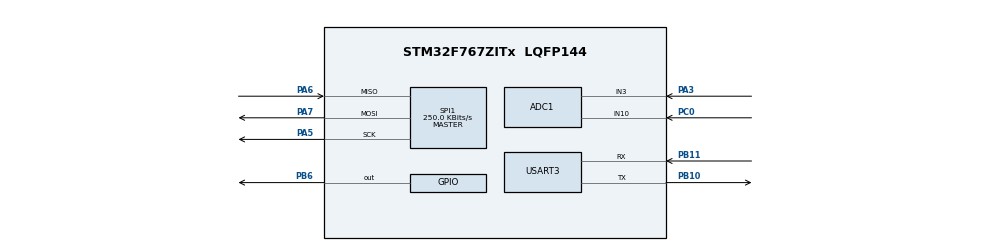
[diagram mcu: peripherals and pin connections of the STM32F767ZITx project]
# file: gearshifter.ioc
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ADC1.Channel-0\#ChannelRegularConversion=ADC_CHANNEL_3
ADC1.NbrOfConversionFlag=1
ADC1.Rank-0\#ChannelRegularConversion=1
ADC1.SamplingTime-0\#ChannelRegularConversion=ADC_SAMPLETIME_3CYCLES
ADC1.master=1
CORTEX_M7.default_mode_Activation=1
Mcu.Family=STM32F7
Mcu.Name=STM32F767ZITx
Mcu.Package=LQFP144
NVIC.PriorityGroup=NVIC_PRIORITYGROUP_4
PA3.Signal=ADCx_IN3
PA5.Mode=Full_Duplex_Master
PA5.Signal=SPI1_SCK
PA6.Mode=Full_Duplex_Master
PA6.Signal=SPI1_MISO
PA7.Mode=Full_Duplex_Master
PA7.Signal=SPI1_MOSI
PB10.Mode=Asynchronous
PB10.Signal=USART3_TX
PB11.Mode=Asynchronous
PB11.Signal=USART3_RX
PB6.GPIO_Speed=GPIO_SPEED_FREQ_HIGH
PB6.PinState=GPIO_PIN_SET
PB6.Signal=GPIO_Output
PC0.Signal=ADCx_IN10
ProjectManager.HeapSize=0x200
ProjectManager.StackSize=0x400
ProjectManager.TargetToolchain=STM32CubeIDE
RCC.HSE_VALUE=25000000
RCC.HSI_VALUE=16000000
RCC.LSE_VALUE=32768
RCC.USBFreq_Value=96000000
RCC.VCOOutputFreq_Value=192000000
SH.ADCx_IN10.0=ADC1_IN10,IN10
SH.ADCx_IN3.0=ADC1_IN3,IN3
SPI1.BaudRatePrescaler=SPI_BAUDRATEPRESCALER_64
SPI1.CalculateBaudRate=250.0 KBits/s
SPI1.DataSize=SPI_DATASIZE_8BIT
SPI1.Direction=SPI_DIRECTION_2LINES
SPI1.Mode=SPI_MODE_MASTER
SPI1.VirtualType=VM_MASTER
USART3.VirtualMode-Asynchronous=VM_ASYNC
board=custom

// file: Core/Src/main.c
/* USER CODE BEGIN Header */
/**
  ******************************************************************************
  * @file           : main.c
  * @brief          : Main program body
  ******************************************************************************
  * @attention
  *
  * Copyright (c) 2026 STMicroelectronics.
  * All rights reserved.
  *
  * This software is licensed under terms that can be found in the LICENSE file
  * in the root directory of this software component.
  * If no LICENSE file comes with this software, it is provided AS-IS.
  *
  ******************************************************************************
  */
/* USER CODE END Header */
#include "main.h"
#include <stdio.h>
#include <stdlib.h>

ADC_HandleTypeDef hadc1;

SPI_HandleTypeDef hspi1;

UART_HandleTypeDef huart3;

/* USER CODE BEGIN PV */
uint32_t H1_ADC = 0;
uint32_t H2_ADC = 0;

uint8_t txData[2] = {0x00, 0x00};
uint8_t rxData[2] = {0x00, 0x00};

uint16_t sensor_raw = 0;
/* USER CODE END PV */

void SystemClock_Config(void);
static void MPU_Config(void);
static void MX_GPIO_Init(void);
static void MX_ADC1_Init(void);
static void MX_SPI1_Init(void);
static void MX_USART3_UART_Init(void);

/* USER CODE BEGIN 0 */

extern UART_HandleTypeDef huart3;

int _write(int file, char *ptr, int len)
{
    HAL_UART_Transmit(&huart3, (uint8_t *)ptr, len, HAL_MAX_DELAY);
    return len;
}

/* --- Analog Hall sensor read (H1/H2) --- */
static uint32_t read_hall_channel(uint32_t channel)
{
    ADC_ChannelConfTypeDef sConfig = {0};
    sConfig.Channel = channel;
    sConfig.Rank = ADC_REGULAR_RANK_1;
    sConfig.SamplingTime = ADC_SAMPLETIME_56CYCLES;
    HAL_ADC_ConfigChannel(&hadc1, &sConfig);

    HAL_ADC_Start(&hadc1);
    HAL_ADC_PollForConversion(&hadc1, 10);
    uint32_t raw = HAL_ADC_GetValue(&hadc1);
    HAL_ADC_Stop(&hadc1);

    return raw;
}

/* --- SPI angle sensor read (AS5047-style protocol, 14-bit angle + 2 status bits) --- */
static uint16_t read_spi_angle(void)
{
    uint8_t tx[2] = {0xFF, 0xFF};
    uint8_t rx[2] = {0, 0};

    HAL_GPIO_WritePin(GPIOB, GPIO_PIN_6, GPIO_PIN_SET);    /* CS high = select */
    HAL_Delay(1);
    HAL_SPI_TransmitReceive(&hspi1, tx, rx, 4, 100);
    HAL_Delay(1);
    HAL_GPIO_WritePin(GPIOB, GPIO_PIN_6, GPIO_PIN_RESET);  /* CS low = deselect */

    rxData[0] = rx[0];
    rxData[1] = rx[1];

    uint16_t raw = ((uint16_t)rx[2] << 8) | rx[3];
    return raw & 0x3FFF;
}

/* USER CODE END 0 */

int main(void)
{

  /* MPU Configuration--------------------------------------------------------*/
  MPU_Config();

  /* MCU Configuration--------------------------------------------------------*/

  /* Reset of all peripherals, Initializes the Flash interface and the Systick. */
  HAL_Init();

  /* Configure the system clock */
  SystemClock_Config();

  /* Initialize all configured peripherals */
  MX_GPIO_Init();
  MX_ADC1_Init();
  MX_SPI1_Init();
  MX_USART3_UART_Init();
  /* USER CODE BEGIN 2 */
  HAL_GPIO_WritePin(GPIOB, GPIO_PIN_6, GPIO_PIN_RESET);   /* CS idle LOW */
  /* USER CODE END 2 */

  /* Infinite loop */
  /* USER CODE BEGIN WHILE */
  /* USER CODE BEGIN WHILE */
  while (1)
  {
    /* USER CODE END WHILE */

    /* USER CODE BEGIN 3 */
    H1_ADC = read_hall_channel(ADC_CHANNEL_3);   // PA3
    H2_ADC = read_hall_channel(ADC_CHANNEL_10);  // PC0

    sensor_raw = read_spi_angle();

    printf("H1:%lu  H2:%lu  Raw:%02X %02X  Angle:%u\r\n",
           H1_ADC, H2_ADC, rxData[0], rxData[1], sensor_raw);
    HAL_Delay(100);
  }
  /* USER CODE END 3 */
}

void SystemClock_Config(void)
{
  RCC_OscInitTypeDef RCC_OscInitStruct = {0};
  RCC_ClkInitTypeDef RCC_ClkInitStruct = {0};

  /** Configure the main internal regulator output voltage
  */
  __HAL_RCC_PWR_CLK_ENABLE();
  __HAL_PWR_VOLTAGESCALING_CONFIG(PWR_REGULATOR_VOLTAGE_SCALE3);

  /** Initializes the RCC Oscillators according to the specified parameters
  * in the RCC_OscInitTypeDef structure.
  */
  RCC_OscInitStruct.OscillatorType = RCC_OSCILLATORTYPE_HSI;
  RCC_OscInitStruct.HSIState = RCC_HSI_ON;
  RCC_OscInitStruct.HSICalibrationValue = RCC_HSICALIBRATION_DEFAULT;
  RCC_OscInitStruct.PLL.PLLState = RCC_PLL_NONE;
  if (HAL_RCC_OscConfig(&RCC_OscInitStruct) != HAL_OK)
  {
    Error_Handler();
  }

  /** Initializes the CPU, AHB and APB buses clocks
  */
  RCC_ClkInitStruct.ClockType = RCC_CLOCKTYPE_HCLK|RCC_CLOCKTYPE_SYSCLK
                              |RCC_CLOCKTYPE_PCLK1|RCC_CLOCKTYPE_PCLK2;
  RCC_ClkInitStruct.SYSCLKSource = RCC_SYSCLKSOURCE_HSI;
  RCC_ClkInitStruct.AHBCLKDivider = RCC_SYSCLK_DIV1;
  RCC_ClkInitStruct.APB1CLKDivider = RCC_HCLK_DIV1;
  RCC_ClkInitStruct.APB2CLKDivider = RCC_HCLK_DIV1;

  if (HAL_RCC_ClockConfig(&RCC_ClkInitStruct, FLASH_LATENCY_0) != HAL_OK)
  {
    Error_Handler();
  }
}

static void MX_ADC1_Init(void)
{

  ADC_ChannelConfTypeDef sConfig = {0};

  /** Configure the global features of the ADC (Clock, Resolution, Data Alignment and number of conversion)
  */
  hadc1.Instance = ADC1;
  hadc1.Init.ClockPrescaler = ADC_CLOCK_SYNC_PCLK_DIV2;
  hadc1.Init.Resolution = ADC_RESOLUTION_12B;
  hadc1.Init.ScanConvMode = ADC_SCAN_DISABLE;
  hadc1.Init.ContinuousConvMode = DISABLE;
  hadc1.Init.DiscontinuousConvMode = DISABLE;
  hadc1.Init.ExternalTrigConvEdge = ADC_EXTERNALTRIGCONVEDGE_NONE;
  hadc1.Init.ExternalTrigConv = ADC_SOFTWARE_START;
  hadc1.Init.DataAlign = ADC_DATAALIGN_RIGHT;
  hadc1.Init.NbrOfConversion = 1;
  hadc1.Init.DMAContinuousRequests = DISABLE;
  hadc1.Init.EOCSelection = ADC_EOC_SINGLE_CONV;
  if (HAL_ADC_Init(&hadc1) != HAL_OK)
  {
    Error_Handler();
  }

  /** Configure for the selected ADC regular channel its corresponding rank in the sequencer and its sample time.
  */
  sConfig.Channel = ADC_CHANNEL_3;
  sConfig.Rank = ADC_REGULAR_RANK_1;
  sConfig.SamplingTime = ADC_SAMPLETIME_3CYCLES;
  if (HAL_ADC_ConfigChannel(&hadc1, &sConfig) != HAL_OK)
  {
    Error_Handler();
  }

}

static void MX_SPI1_Init(void)
{

  /* SPI1 parameter configuration*/
  hspi1.Instance = SPI1;
  hspi1.Init.Mode = SPI_MODE_MASTER;
  hspi1.Init.Direction = SPI_DIRECTION_2LINES;
  hspi1.Init.DataSize = SPI_DATASIZE_8BIT;
  hspi1.Init.CLKPolarity = SPI_POLARITY_LOW;
  hspi1.Init.CLKPhase = SPI_PHASE_2EDGE;
  hspi1.Init.NSS = SPI_NSS_SOFT;
  hspi1.Init.BaudRatePrescaler = SPI_BAUDRATEPRESCALER_2;
  hspi1.Init.FirstBit = SPI_FIRSTBIT_MSB;
  hspi1.Init.TIMode = SPI_TIMODE_DISABLE;
  hspi1.Init.CRCCalculation = SPI_CRCCALCULATION_DISABLE;
  hspi1.Init.CRCPolynomial = 7;
  hspi1.Init.CRCLength = SPI_CRC_LENGTH_DATASIZE;
  hspi1.Init.NSSPMode = SPI_NSS_PULSE_ENABLE;
  if (HAL_SPI_Init(&hspi1) != HAL_OK)
  {
    Error_Handler();
  }

}

static void MX_USART3_UART_Init(void)
{

  huart3.Instance = USART3;
  huart3.Init.BaudRate = 115200;
  huart3.Init.WordLength = UART_WORDLENGTH_8B;
  huart3.Init.StopBits = UART_STOPBITS_1;
  huart3.Init.Parity = UART_PARITY_NONE;
  huart3.Init.Mode = UART_MODE_TX_RX;
  huart3.Init.HwFlowCtl = UART_HWCONTROL_NONE;
  huart3.Init.OverSampling = UART_OVERSAMPLING_16;
  huart3.Init.OneBitSampling = UART_ONE_BIT_SAMPLE_DISABLE;
  huart3.AdvancedInit.AdvFeatureInit = UART_ADVFEATURE_NO_INIT;
  if (HAL_UART_Init(&huart3) != HAL_OK)
  {
    Error_Handler();
  }

}

static void MX_GPIO_Init(void)
{
  GPIO_InitTypeDef GPIO_InitStruct = {0};

  /* GPIO Ports Clock Enable */
  __HAL_RCC_GPIOC_CLK_ENABLE();
  __HAL_RCC_GPIOA_CLK_ENABLE();
  __HAL_RCC_GPIOB_CLK_ENABLE();

  /*Configure GPIO pin Output Level */
  HAL_GPIO_WritePin(GPIOB, GPIO_PIN_6, GPIO_PIN_RESET);

  /*Configure GPIO pin : PB6 */
  GPIO_InitStruct.Pin = GPIO_PIN_6;
  GPIO_InitStruct.Mode = GPIO_MODE_OUTPUT_PP;
  GPIO_InitStruct.Pull = GPIO_NOPULL;
  GPIO_InitStruct.Speed = GPIO_SPEED_FREQ_HIGH;
  HAL_GPIO_Init(GPIOB, &GPIO_InitStruct);

  /* USER CODE BEGIN MX_GPIO_Init_2 */

    GPIO_InitStruct.Pin = GPIO_PIN_3;
    GPIO_InitStruct.Mode = GPIO_MODE_ANALOG;
    GPIO_InitStruct.Pull = GPIO_NOPULL;
    HAL_GPIO_Init(GPIOA, &GPIO_InitStruct);

    GPIO_InitStruct.Pin = GPIO_PIN_0;
    GPIO_InitStruct.Mode = GPIO_MODE_ANALOG;
    GPIO_InitStruct.Pull = GPIO_NOPULL;
    HAL_GPIO_Init(GPIOC, &GPIO_InitStruct);

    __HAL_RCC_GPIOD_CLK_ENABLE();

    GPIO_InitStruct.Pin = GPIO_PIN_8 | GPIO_PIN_9;
    GPIO_InitStruct.Mode = GPIO_MODE_AF_PP;
    GPIO_InitStruct.Pull = GPIO_NOPULL;
    GPIO_InitStruct.Speed = GPIO_SPEED_FREQ_LOW;
    GPIO_InitStruct.Alternate = GPIO_AF7_USART3;
    HAL_GPIO_Init(GPIOD, &GPIO_InitStruct);

    GPIO_InitStruct.Pin = GPIO_PIN_5 | GPIO_PIN_6;
    GPIO_InitStruct.Mode = GPIO_MODE_AF_PP;
    GPIO_InitStruct.Pull = GPIO_NOPULL;
    GPIO_InitStruct.Speed = GPIO_SPEED_FREQ_HIGH;
    GPIO_InitStruct.Alternate = GPIO_AF5_SPI1;
    HAL_GPIO_Init(GPIOA, &GPIO_InitStruct);

  /* USER CODE END MX_GPIO_Init_2 */
}

 /* MPU Configuration */

void MPU_Config(void)
{
  MPU_Region_InitTypeDef MPU_InitStruct = {0};

  /* Disables the MPU */
  HAL_MPU_Disable();

  /** Initializes and configures the Region and the memory to be protected
  */
  MPU_InitStruct.Enable = MPU_REGION_ENABLE;
  MPU_InitStruct.Number = MPU_REGION_NUMBER0;
  MPU_InitStruct.BaseAddress = 0x0;
  MPU_InitStruct.Size = MPU_REGION_SIZE_4GB;
  MPU_InitStruct.SubRegionDisable = 0x87;
  MPU_InitStruct.TypeExtField = MPU_TEX_LEVEL0;
  MPU_InitStruct.AccessPermission = MPU_REGION_NO_ACCESS;
  MPU_InitStruct.DisableExec = MPU_INSTRUCTION_ACCESS_DISABLE;
  MPU_InitStruct.IsShareable = MPU_ACCESS_SHAREABLE;
  MPU_InitStruct.IsCacheable = MPU_ACCESS_NOT_CACHEABLE;
  MPU_InitStruct.IsBufferable = MPU_ACCESS_NOT_BUFFERABLE;

  HAL_MPU_ConfigRegion(&MPU_InitStruct);
  /* Enables the MPU */
  HAL_MPU_Enable(MPU_PRIVILEGED_DEFAULT);

}

void Error_Handler(void)
{
  __disable_irq();
  while (1)
  {
  }
}
